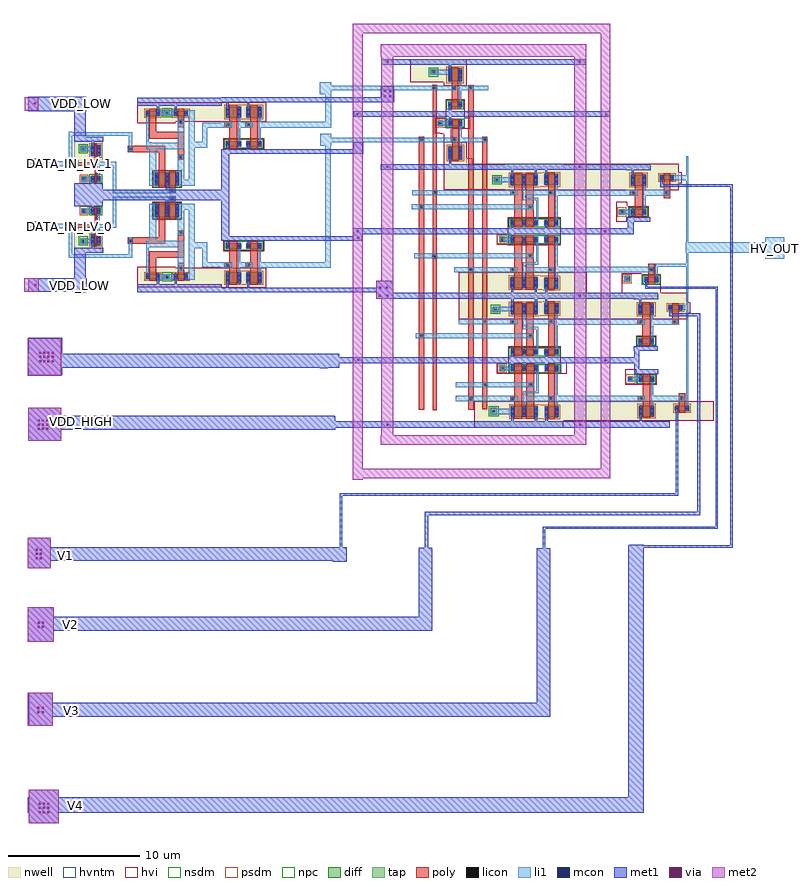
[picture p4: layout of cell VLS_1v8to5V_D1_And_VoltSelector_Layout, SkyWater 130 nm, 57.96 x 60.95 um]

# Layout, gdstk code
import gdstk
lib = gdstk.Library(unit=1e-6, precision=1e-09)
def R(c, l, rs):  # rectangles x0, y0, x1, y1
    for r in rs: c.add(gdstk.rectangle(r[:2], r[2:], *l))
def A(c, l, x, y, w, h, nx, ny, dx, dy):  # array of equal rectangles
    R(c, l, [(x+i*dx, y+j*dy, x+i*dx+w, y+j*dy+h) for i in range(nx) for j in range(ny)])
nwell = (64, 20)
diff = (65, 20)
tap = (65, 44)
poly = (66, 20)
licon = (66, 44)
li1 = (67, 20)
mcon = (67, 44)
met1 = (68, 20)
via = (68, 44)
met2 = (69, 20)
hvi = (75, 20)
nsdm = (93, 44)
psdm = (94, 20)
npc = (95, 20)
hvntm = (125, 20)

sky130_fd_pr__pfet_g5v0d = lib.new_cell('sky130_fd_pr__pfet_g5v0d10v5_54DD5S')
R(sky130_fd_pr__pfet_g5v0d, nwell, [(-0.77,-0.73,0.77,0.73)])
R(sky130_fd_pr__pfet_g5v0d, diff, [(-0.59,-0.42,0.59,0.42)])
R(sky130_fd_pr__pfet_g5v0d, poly, [(-0.3,-0.55,0.3,0.55)])
R(sky130_fd_pr__pfet_g5v0d, licon, [(-0.53,-0.255,-0.36,-0.085), (0.36,-0.255,0.53,-0.085), (-0.53,0.085,-0.36,0.255), (0.36,0.085,0.53,0.255)])
R(sky130_fd_pr__pfet_g5v0d, li1, [(-0.53,-0.44,-0.36,0.44), (0.36,-0.44,0.53,0.44)])
R(sky130_fd_pr__pfet_g5v0d, mcon, [(-0.53,-0.265,-0.36,-0.095), (0.36,-0.265,0.53,-0.095), (-0.53,0.095,-0.36,0.265), (0.36,0.095,0.53,0.265)])
R(sky130_fd_pr__pfet_g5v0d, met1, [(-0.56,-0.42,-0.33,0.42), (0.33,-0.42,0.56,0.42)])
R(sky130_fd_pr__pfet_g5v0d, hvi, [(-0.77,-0.73,0.77,-0.605), (-0.775,-0.605,0.775,0.605), (-0.77,0.605,0.77,0.73)])
R(sky130_fd_pr__pfet_g5v0d, psdm, [(-0.715,-0.545,0.715,0.545)])

sky130_fd_pr__nfet_g5v0d = lib.new_cell('sky130_fd_pr__nfet_g5v0d10v5_RU632G')
R(sky130_fd_pr__nfet_g5v0d, diff, [(-0.59,-0.21,0.59,0.21)])
R(sky130_fd_pr__nfet_g5v0d, poly, [(-0.3,-0.34,0.3,0.34)])
R(sky130_fd_pr__nfet_g5v0d, licon, [(-0.53,-0.085,-0.36,0.085), (0.36,-0.085,0.53,0.085)])
R(sky130_fd_pr__nfet_g5v0d, li1, [(-0.53,-0.23,-0.36,0.23), (0.36,-0.23,0.53,0.23)])
R(sky130_fd_pr__nfet_g5v0d, mcon, [(-0.53,-0.085,-0.36,0.085), (0.36,-0.085,0.53,0.085)])
R(sky130_fd_pr__nfet_g5v0d, met1, [(-0.56,-0.21,-0.33,0.21), (0.33,-0.21,0.56,0.21)])
R(sky130_fd_pr__nfet_g5v0d, hvi, [(-0.775,-0.42,0.775,0.42)])
R(sky130_fd_pr__nfet_g5v0d, nsdm, [(-0.715,-0.335,0.715,0.335)])
R(sky130_fd_pr__nfet_g5v0d, hvntm, [(-0.775,-0.395,0.775,0.395)])

inverter_d1_g5v10 = lib.new_cell('inverter_D1_g5v10')
R(inverter_d1_g5v10, nwell, [(-0.49,-3.04,1.36,-1.54)])
R(inverter_d1_g5v10, poly, [(0.14,-1.74,0.74,-1.54), (-0.24,-1.54,0.74,-1.1), (0.14,-1.1,0.74,-0.08)])
R(inverter_d1_g5v10, licon, [(-0.05,-1.395,0.12,-1.225)])
R(inverter_d1_g5v10, li1, [(0.8,-1.87,0.97,-1.54), (-0.49,-1.54,0.36,-1.1), (0.8,-1.54,1.36,-1.1), (0.8,-1.1,0.97,0.175)])
R(inverter_d1_g5v10, met1, [(-0.49,-3.4,1.35,-3.05), (-0.09,-3.05,0.08,-1.87), (-0.09,-0.07,0.08,0.54), (-0.5,0.54,1.34,0.89)])
R(inverter_d1_g5v10, hvi, [(-0.49,-3.04,1.36,-3.02), (-0.49,-3.02,-0.33,-2.895), (1.21,-3.02,1.36,-2.895), (-0.49,-2.895,-0.335,-1.685), (1.215,-2.895,1.36,-1.685), (-0.49,-1.685,-0.33,-1.56), (1.21,-1.685,1.36,-1.56), (-0.49,-1.56,1.36,-1.54)])
R(inverter_d1_g5v10, npc, [(-0.15,-1.495,0.22,-1.125)])
inverter_d1_g5v10.add(gdstk.Reference(sky130_fd_pr__pfet_g5v0d, (0.44,-2.29)))
inverter_d1_g5v10.add(gdstk.Reference(sky130_fd_pr__nfet_g5v0d, (0.44,0.14)))
inverter_d1_g5v10.add(gdstk.Label('VDD', (0.46,-3.25), layer=68, texttype=16))
inverter_d1_g5v10.add(gdstk.Label('GND', (0.46,0.69), layer=68, texttype=16))
inverter_d1_g5v10.add(gdstk.Label('IN', (-0.32,-1.33), layer=67, texttype=16))
inverter_d1_g5v10.add(gdstk.Label('OUT', (1.12,-1.35), layer=67, texttype=16))

c_sky130_fd_pr__pfet_g5v0d = lib.new_cell('sky130_fd_pr__pfet_g5v0d10v5_HDJJAB')
R(c_sky130_fd_pr__pfet_g5v0d, nwell, [(-0.72,-0.52,0.72,0.52)])
R(c_sky130_fd_pr__pfet_g5v0d, diff, [(-0.54,-0.21,0.54,0.21)])
R(c_sky130_fd_pr__pfet_g5v0d, poly, [(-0.25,-0.34,0.25,0.34)])
R(c_sky130_fd_pr__pfet_g5v0d, licon, [(-0.48,-0.085,-0.31,0.085), (0.31,-0.085,0.48,0.085)])
R(c_sky130_fd_pr__pfet_g5v0d, li1, [(-0.48,-0.23,-0.31,0.23), (0.31,-0.23,0.48,0.23)])
R(c_sky130_fd_pr__pfet_g5v0d, mcon, [(-0.48,-0.085,-0.31,0.085), (0.31,-0.085,0.48,0.085)])
R(c_sky130_fd_pr__pfet_g5v0d, met1, [(-0.51,-0.21,-0.28,0.21), (0.28,-0.21,0.51,0.21)])
R(c_sky130_fd_pr__pfet_g5v0d, hvi, [(-0.72,-0.52,0.72,-0.42), (-1.145,-0.42,1.145,0.42), (-0.72,0.42,0.72,0.52)])
R(c_sky130_fd_pr__pfet_g5v0d, psdm, [(-0.665,-0.335,0.665,0.335)])

c_sky130_fd_pr__pfet_g5v0d_ = lib.new_cell('sky130_fd_pr__pfet_g5v0d10v5_CG94UW')
R(c_sky130_fd_pr__pfet_g5v0d_, nwell, [(-0.72,-0.73,0.72,0.73)])
R(c_sky130_fd_pr__pfet_g5v0d_, diff, [(-0.54,-0.42,0.54,0.42)])
R(c_sky130_fd_pr__pfet_g5v0d_, poly, [(-0.25,-0.55,0.25,0.55)])
R(c_sky130_fd_pr__pfet_g5v0d_, licon, [(-0.48,-0.255,-0.31,-0.085), (0.31,-0.255,0.48,-0.085), (-0.48,0.085,-0.31,0.255), (0.31,0.085,0.48,0.255)])
R(c_sky130_fd_pr__pfet_g5v0d_, li1, [(-0.48,-0.44,-0.31,0.44), (0.31,-0.44,0.48,0.44)])
R(c_sky130_fd_pr__pfet_g5v0d_, mcon, [(-0.48,-0.265,-0.31,-0.095), (0.31,-0.265,0.48,-0.095), (-0.48,0.095,-0.31,0.265), (0.31,0.095,0.48,0.265)])
R(c_sky130_fd_pr__pfet_g5v0d_, met1, [(-0.51,-0.42,-0.28,0.42), (0.28,-0.42,0.51,0.42)])
R(c_sky130_fd_pr__pfet_g5v0d_, hvi, [(-0.72,-0.73,0.72,-0.605), (-0.725,-0.605,0.725,0.605), (-0.72,0.605,0.72,0.73)])
R(c_sky130_fd_pr__pfet_g5v0d_, psdm, [(-0.665,-0.545,0.665,0.545)])

c_sky130_fd_pr__pfet_g5v0d__ = lib.new_cell('sky130_fd_pr__pfet_g5v0d10v5_DG94C2')
R(c_sky130_fd_pr__pfet_g5v0d__, nwell, [(-0.77,-0.73,0.77,0.73)])
R(c_sky130_fd_pr__pfet_g5v0d__, diff, [(-0.59,-0.42,0.59,0.42)])
R(c_sky130_fd_pr__pfet_g5v0d__, poly, [(-0.3,-0.55,0.3,0.55)])
R(c_sky130_fd_pr__pfet_g5v0d__, licon, [(-0.53,-0.255,-0.36,-0.085), (0.36,-0.255,0.53,-0.085), (-0.53,0.085,-0.36,0.255), (0.36,0.085,0.53,0.255)])
R(c_sky130_fd_pr__pfet_g5v0d__, li1, [(-0.53,-0.44,-0.36,0.44), (0.36,-0.44,0.53,0.44)])
R(c_sky130_fd_pr__pfet_g5v0d__, mcon, [(-0.53,-0.265,-0.36,-0.095), (0.36,-0.265,0.53,-0.095), (-0.53,0.095,-0.36,0.265), (0.36,0.095,0.53,0.265)])
R(c_sky130_fd_pr__pfet_g5v0d__, met1, [(-0.56,-0.42,-0.33,0.42), (0.33,-0.42,0.56,0.42)])
R(c_sky130_fd_pr__pfet_g5v0d__, hvi, [(-0.77,-0.73,0.77,-0.605), (-0.775,-0.605,0.775,0.605), (-0.77,0.605,0.77,0.73)])
R(c_sky130_fd_pr__pfet_g5v0d__, psdm, [(-0.715,-0.545,0.715,0.545)])

nand_d1_g5d10 = lib.new_cell('nand_D1_g5d10')
R(nand_d1_g5d10, nwell, [(0.74,-1.5,2.58,-1.49), (-0.17,-1.49,2.58,0.04)])
R(nand_d1_g5d10, poly, [(0.47,-0.27,1.07,0.04), (1.36,-0.18,1.96,2.27), (0.16,0.04,1.07,0.45), (0.47,0.45,1.07,2.24)])
R(nand_d1_g5d10, licon, [(0.27,0.17,0.44,0.34), (1.605,1.23,1.775,1.4)])
R(nand_d1_g5d10, li1, [(1.13,-0.29,1.3,0.04), (-0.17,0.04,0.74,0.45), (1.13,0.04,2.58,0.45), (1.13,0.45,1.3,0.645), (1.13,0.645,2.305,0.815), (2.135,0.815,2.305,1.91), (-0.18,1.11,1.96,1.49), (2.135,1.91,2.31,2.775)])
R(nand_d1_g5d10, met1, [(-0.17,-1.96,2.58,-1.5), (0.24,-1.5,0.41,-0.37), (2.02,-1.5,2.2,-0.32), (0.24,2.32,0.41,2.95), (-0.17,2.95,2.57,3.41)])
R(nand_d1_g5d10, hvi, [(0.74,-1.5,2.58,-1.49), (-0.17,-1.49,2.58,-1.46), (-0.17,-1.46,0,-1.335), (2.43,-1.46,2.58,-1.335), (-0.17,-1.335,-0.005,-0.125), (2.435,-1.335,2.58,-0.125), (-0.17,-0.125,0,0), (2.43,-0.125,2.58,0), (-0.17,0,2.58,0.04)])
R(nand_d1_g5d10, npc, [(0.17,0.07,0.54,0.44), (1.505,1.13,1.875,1.5)])
nand_d1_g5d10.add(gdstk.Reference(c_sky130_fd_pr__pfet_g5v0d__, (1.66,-0.73)))
nand_d1_g5d10.add(gdstk.Reference(c_sky130_fd_pr__pfet_g5v0d__, (0.77,-0.73)))
nand_d1_g5d10.add(gdstk.Reference(sky130_fd_pr__nfet_g5v0d, (0.77,2.55)))
nand_d1_g5d10.add(gdstk.Reference(sky130_fd_pr__nfet_g5v0d, (1.66,2.55)))
nand_d1_g5d10.add(gdstk.Label('VDD', (1.23,-1.76), layer=68, texttype=16))
nand_d1_g5d10.add(gdstk.Label('VSS', (1.21,3.15), layer=68, texttype=16))
nand_d1_g5d10.add(gdstk.Label('IN0', (0.06,0.25), layer=67, texttype=16))
nand_d1_g5d10.add(gdstk.Label('IN1', (0.05,1.27), layer=67, texttype=16))
nand_d1_g5d10.add(gdstk.Label('OUT', (2.39,0.2), layer=67, texttype=16))

c_sky130_fd_pr__nfet_g5v0d = lib.new_cell('sky130_fd_pr__nfet_g5v0d10v5_A3ZYGX')
R(c_sky130_fd_pr__nfet_g5v0d, diff, [(-0.54,-0.21,0.54,0.21)])
R(c_sky130_fd_pr__nfet_g5v0d, poly, [(-0.25,-0.34,0.25,0.34)])
R(c_sky130_fd_pr__nfet_g5v0d, licon, [(-0.48,-0.085,-0.31,0.085), (0.31,-0.085,0.48,0.085)])
R(c_sky130_fd_pr__nfet_g5v0d, li1, [(-0.48,-0.23,-0.31,0.23), (0.31,-0.23,0.48,0.23)])
R(c_sky130_fd_pr__nfet_g5v0d, mcon, [(-0.48,-0.085,-0.31,0.085), (0.31,-0.085,0.48,0.085)])
R(c_sky130_fd_pr__nfet_g5v0d, met1, [(-0.51,-0.21,-0.28,0.21), (0.28,-0.21,0.51,0.21)])
R(c_sky130_fd_pr__nfet_g5v0d, hvi, [(-0.725,-0.42,0.725,0.42)])
R(c_sky130_fd_pr__nfet_g5v0d, nsdm, [(-0.665,-0.335,0.665,0.335)])
R(c_sky130_fd_pr__nfet_g5v0d, hvntm, [(-0.725,-0.395,0.725,0.395)])

and2_g5d10 = lib.new_cell('and2_g5D10')
R(and2_g5d10, nwell, [(0.01,-5.37,4.38,-4.88), (3,-4.88,3.17,-4.42), (4.2,-4.88,4.38,-3.58), (3.23,-3.63,3.73,-3.58), (2.76,-3.58,4.38,-3.37)])
R(and2_g5d10, poly, [(3.23,-3.63,3.73,-0.91)])
R(and2_g5d10, licon, [(3.34,-3.24,3.51,-3.07)])
R(and2_g5d10, li1, [(3.79,-4.16,3.96,-3.37), (2.35,-3.37,3.62,-2.96), (3.79,-3.37,4.38,-2.95), (3.79,-2.95,3.96,-0.805)])
R(and2_g5d10, met1, [(2.3,-5.375,4.38,-4.91), (3,-4.91,3.17,-4.42), (3,-0.83,3.17,-0.46), (2.22,-0.46,4.2,0)])
R(and2_g5d10, hvi, [(0.01,-5.37,4.38,-4.91), (0.01,-4.91,0.92,-4.9), (4.2,-4.91,4.38,-4.785), (4.205,-4.785,4.38,-3.575), (4.2,-3.575,4.38,-3.45), (2.76,-3.45,4.38,-3.37), (2.615,-1.28,2.755,-0.44)])
R(and2_g5d10, nsdm, [(2.555,-1.195,2.815,-0.525)])
R(and2_g5d10, psdm, [(2.555,-4.685,2.815,-3.635)])
R(and2_g5d10, npc, [(3.24,-3.34,3.61,-2.97)])
R(and2_g5d10, hvntm, [(2.615,-1.255,2.755,-0.465)])
and2_g5d10.add(gdstk.Reference(c_sky130_fd_pr__pfet_g5v0d_, (3.48,-4.18)))
and2_g5d10.add(gdstk.Reference(nand_d1_g5d10, (0.18,-3.41)))
and2_g5d10.add(gdstk.Reference(c_sky130_fd_pr__nfet_g5v0d, (3.48,-0.86)))
and2_g5d10.add(gdstk.Label('OUT', (4.17,-3.17), layer=67, texttype=16))
and2_g5d10.add(gdstk.Label('VDD', (1.95,-5.17), layer=64, texttype=16))

c_sky130_fd_pr__pfet_g5v0d___ = lib.new_cell('sky130_fd_pr__pfet_g5v0d10v5_GK82RQ')
R(c_sky130_fd_pr__pfet_g5v0d___, nwell, [(-0.72,-0.81,0.72,0.81)])
R(c_sky130_fd_pr__pfet_g5v0d___, diff, [(-0.54,-0.5,0.54,0.5)])
R(c_sky130_fd_pr__pfet_g5v0d___, poly, [(-0.25,-0.63,0.25,0.63)])
A(c_sky130_fd_pr__pfet_g5v0d___, licon, -0.48, -0.425, 0.17, 0.17, 1, 3, 0, 0.34)
A(c_sky130_fd_pr__pfet_g5v0d___, licon, 0.31, -0.425, 0.17, 0.17, 1, 3, 0, 0.34)
R(c_sky130_fd_pr__pfet_g5v0d___, li1, [(-0.48,-0.52,-0.31,0.52), (0.31,-0.52,0.48,0.52)])
R(c_sky130_fd_pr__pfet_g5v0d___, mcon, [(-0.48,-0.265,-0.31,-0.095), (0.31,-0.265,0.48,-0.095), (-0.48,0.095,-0.31,0.265), (0.31,0.095,0.48,0.265)])
R(c_sky130_fd_pr__pfet_g5v0d___, met1, [(-0.51,-0.5,-0.28,0.5), (0.28,-0.5,0.51,0.5)])
R(c_sky130_fd_pr__pfet_g5v0d___, hvi, [(-0.72,-0.81,0.72,-0.685), (-0.725,-0.685,0.725,0.685), (-0.72,0.685,0.72,0.81)])
R(c_sky130_fd_pr__pfet_g5v0d___, psdm, [(-0.665,-0.625,0.665,0.625)])

inverter_d5g10_w1um_l0p4 = lib.new_cell('inverter_d5g10_W1um_L0p420')
R(inverter_d5g10_w1um_l0p4, nwell, [(-0.25,-2.1,1.51,-0.08)])
R(inverter_d5g10_w1um_l0p4, poly, [(0.38,-0.29,0.88,1.57)])
R(inverter_d5g10_w1um_l0p4, licon, [(0.45,0.005,0.62,0.175)])
R(inverter_d5g10_w1um_l0p4, li1, [(0.94,-0.4,1.11,-0.08), (-0.25,-0.08,0.7,0.26), (0.94,-0.08,1.51,0.25), (0.94,0.25,1.11,1.62)])
R(inverter_d5g10_w1um_l0p4, met1, [(-0.25,-2.1,1.5,-1.75), (0.15,-1.75,0.32,-1.26), (0.15,1.5,0.32,1.85), (-0.25,1.85,1.5,2.2)])
R(inverter_d5g10_w1um_l0p4, hvi, [(-0.25,-2.1,1.51,-1.72), (-0.25,-1.72,-0.09,-1.595), (1.35,-1.72,1.51,-1.595), (-0.25,-1.595,-0.095,-0.225), (1.355,-1.595,1.51,-0.225), (-0.25,-0.225,-0.09,-0.1), (1.35,-0.225,1.51,-0.1), (-0.25,-0.1,1.51,-0.08)])
R(inverter_d5g10_w1um_l0p4, npc, [(0.35,-0.095,0.72,0.275)])
inverter_d5g10_w1um_l0p4.add(gdstk.Reference(c_sky130_fd_pr__pfet_g5v0d___, (0.63,-0.91)))
inverter_d5g10_w1um_l0p4.add(gdstk.Reference(c_sky130_fd_pr__nfet_g5v0d, (0.63,1.37)))
inverter_d5g10_w1um_l0p4.add(gdstk.Label('VDD', (0.62,-1.95), layer=68, texttype=16))
inverter_d5g10_w1um_l0p4.add(gdstk.Label('VSS', (0.68,2.01), layer=68, texttype=16))
inverter_d5g10_w1um_l0p4.add(gdstk.Label('IN', (0,0.09), layer=67, texttype=16))
inverter_d5g10_w1um_l0p4.add(gdstk.Label('OUT', (1.26,0.08), layer=67, texttype=16))

decoder_d1_g5d10 = lib.new_cell('decoder_D1_g5d10')
R(decoder_d1_g5d10, nwell, [(-2.53,-5.37,1.9,-3.37), (-3.705,2.905,3.445,6.46), (-4.845,12.75,0.265,13.5), (-4.86,13.5,0.265,14.72), (-4.845,14.72,0.265,14.74), (-3.11,14.74,-3.09,14.75), (-7.39,20.96,-3.1,22.72)])
R(decoder_d1_g5d10, tap, [(-1.3,-4.39,-0.8,-3.87), (-0.61,-1.07,-0.16,-0.62), (-1.14,3.42,-0.67,3.86), (-0.63,8.76,-0.18,9.21), (-1.04,13.31,-0.57,13.75), (-5.33,17.61,-4.88,18.06), (-5.88,21.52,-5.41,21.96)])
R(decoder_d1_g5d10, poly, [(-5.7,-4.045,-5.39,12.4), (-2.98,-4.02,-2.58,20.73), (-6.76,-4.015,-6.35,16.82), (-1.9,-3.975,-1.53,16.81), (-5.73,12.4,-5.39,12.71), (-5.7,12.71,-5.39,20.77)])
R(decoder_d1_g5d10, licon, [(-1.145,-4.215,-0.975,-4.045), (-2.865,-3.24,-2.695,-3.07), (-1.78,-2.185,-1.61,-2.015), (-0.465,-0.935,-0.295,-0.765), (-6.64,1.55,-6.47,1.72), (-1.81,2.62,-1.64,2.79), (-0.985,3.56,-0.815,3.73), (-2.9,6.59,-2.73,6.76), (-5.62,7.62,-5.45,7.79), (-0.485,8.895,-0.315,9.065), (-6.645,11.4,-6.475,11.57), (-5.635,12.47,-5.465,12.64), (-0.885,13.45,-0.715,13.62), (-6.64,16.495,-6.47,16.665), (-1.79,16.5,-1.62,16.67), (-5.185,17.745,-5.015,17.915), (-5.635,20.46,-5.465,20.63), (-2.885,20.465,-2.715,20.635), (-5.725,21.66,-5.555,21.83)])
R(decoder_d1_g5d10, li1, [(-1.27,-4.35,0.43,-3.92), (-1.27,-3.92,-0.84,-3.91), (-3.945,-3.37,0.42,-2.96), (3.76,-3.37,8.83,-2.95), (-3.93,-2.3,0.38,-1.92), (-0.57,-1.04,-0.19,-1), (-0.57,-1,0.47,-0.73), (-0.57,-0.73,-0.19,-0.67), (-6.98,1.455,0.26,1.835), (3.82,2.485,8.82,2.905), (-3.705,2.495,0.3,2.905), (-1.1,3.46,-0.72,3.49), (-1.1,3.49,0.4,3.82), (-1.08,3.82,0.4,3.83), (-4.065,6.46,0.285,6.87), (3.83,6.46,8.71,6.88), (-7.1,7.53,0.24,7.91), (-0.59,8.79,-0.21,8.82), (-0.59,8.82,0.42,9.14), (-0.59,9.14,-0.21,9.16), (-7.28,11.295,0.28,11.675), (3.69,12.325,8.72,12.745), (-7.265,12.335,0.29,12.745), (-1,13.35,0.35,13.71), (-12.99,16.4,-4.51,16.74), (-3.97,16.4,-3.85,16.74), (-3.65,16.4,-1.51,16.74), (-5.29,17.64,-4.91,17.68), (-5.29,17.68,-4.32,17.98), (-5.29,17.98,-4.91,18.01), (-12.95,20.36,-4.52,20.7), (-3.485,20.37,-1.445,20.7), (-5.84,21.55,-4.34,21.92)])
R(decoder_d1_g5d10, met1, [(-13.875,-5.38,6.025,-4.89), (-13.67,-0.465,7.8,0), (-9.65,4.445,5.98,4.905), (-11.78,9.375,7.86,9.835), (-9.645,14.28,6.025,14.73), (-11.72,18.33,7.86,18.77), (-9.62,22.31,6.015,22.71), (-9.605,22.71,6.015,22.72)])
R(decoder_d1_g5d10, via, [(-9.185,-5.22,-9.035,-5.07), (5.475,-5.22,5.625,-5.07), (7.405,-0.3,7.555,-0.15), (-11.445,-0.29,-11.295,-0.14), (-9.255,4.61,-9.105,4.76), (5.455,4.62,5.605,4.77), (7.385,9.51,7.535,9.66), (-11.485,9.52,-11.335,9.67), (5.455,14.43,5.605,14.58), (-9.255,14.44,-9.105,14.59), (7.455,18.43,7.605,18.58), (-11.505,18.46,-11.355,18.61), (-9.205,22.44,-9.055,22.59), (5.455,22.46,5.605,22.61)])
R(decoder_d1_g5d10, met2, [(-11.775,-9.335,-11.045,-9.25), (-11.775,-9.25,7.845,-8.52), (-11.775,-8.52,-11.045,24.685), (7.115,-8.52,7.845,24.685), (-9.65,-6.67,6.01,-5.94), (-9.63,-5.94,-8.69,22.91), (5.08,-5.94,6.01,-5.67), (5.08,-5.67,6.02,22.91), (-9.65,22.91,6.02,23.85), (-11.775,24.685,7.845,25.415)])
R(decoder_d1_g5d10, hvi, [(-2.53,-5.37,1.9,-3.37), (4.095,-1.28,4.51,-0.44), (-0.805,-1.265,0.065,-1.255), (-0.805,-1.255,0.065,-0.44), (-0.805,-0.44,4.085,-0.425), (0.055,-0.425,4.085,-0.025), (-3.705,2.905,3.445,6.46), (-0.825,8.565,0.045,9.39), (-0.825,9.39,4.075,9.405), (0.045,9.405,4.075,9.815), (-4.845,12.75,0.265,13.5), (-4.86,13.5,0.265,14.72), (-4.845,14.72,0.265,14.74), (-3.52,14.74,-2.68,15.165), (-4.865,16.265,-4.85,16.4), (-4.865,16.4,-4.265,17.02), (-5.12,17.02,-4.265,17.08), (-5.525,17.08,-4.265,17.295), (-5.53,17.295,-4.265,17.43), (-5.53,17.43,-4.685,18.245), (-3.245,17.43,-2.83,18.27), (-5.53,18.245,-4.685,18.255), (-4.705,18.255,-4.695,18.27), (-4.705,18.27,-3.255,18.83), (-7.39,20.96,-3.1,22.72)])
R(decoder_d1_g5d10, nsdm, [(-1.425,-4.515,-0.675,-3.745), (-1.265,3.295,-0.545,3.985), (-1.165,13.185,-0.445,13.875), (-6.005,21.395,-5.285,22.085)])
R(decoder_d1_g5d10, psdm, [(-0.735,-1.195,-0.035,-0.495), (-0.755,8.635,-0.055,9.335), (-5.455,17.485,-4.755,18.185)])
R(decoder_d1_g5d10, npc, [(-2.965,-3.34,-2.595,-2.97), (-1.88,-2.285,-1.51,-1.915), (-6.74,1.45,-6.37,1.82), (-1.91,2.52,-1.54,2.89), (-3,6.49,-2.63,6.86), (-5.72,7.52,-5.35,7.89), (-6.745,11.3,-6.375,11.67), (-5.735,12.37,-5.365,12.74), (-6.74,16.395,-6.37,16.765), (-1.89,16.4,-1.52,16.77), (-5.735,20.36,-5.365,20.73), (-2.985,20.365,-2.615,20.735)])
R(decoder_d1_g5d10, hvntm, [(0.065,-0.465,4.085,0), (0.045,9.365,4.075,9.84), (-4.695,18.245,-3.255,18.855)])
decoder_d1_g5d10.add(gdstk.Reference(and2_g5d10, (-0.13,9.375), x_reflection=True))
decoder_d1_g5d10.add(gdstk.Reference(and2_g5d10, (-0.13,9.83)))
decoder_d1_g5d10.add(gdstk.Reference(and2_g5d10, (-0.12,-0.465), x_reflection=True))
decoder_d1_g5d10.add(gdstk.Reference(and2_g5d10, (-0.11,0)))
decoder_d1_g5d10.add(gdstk.Reference(inverter_d5g10_w1um_l0p4, (-4.61,20.62), x_reflection=True))
decoder_d1_g5d10.add(gdstk.Reference(inverter_d5g10_w1um_l0p4, (-4.6,16.48)))
decoder_d1_g5d10.add(gdstk.Label('VDD', (-13.63,-5.12), layer=68, texttype=16))
decoder_d1_g5d10.add(gdstk.Label('VSS', (-13.31,-0.22), layer=68, texttype=16))
decoder_d1_g5d10.add(gdstk.Label('IN0', (-12.7,16.62), layer=67, texttype=16))
decoder_d1_g5d10.add(gdstk.Label('IN1', (-12.59,20.54), layer=67, texttype=16))
decoder_d1_g5d10.add(gdstk.Label('OUT0', (8.53,-3.16), layer=67, texttype=16))
decoder_d1_g5d10.add(gdstk.Label('OUT1', (8.32,2.72), layer=67, texttype=16))
decoder_d1_g5d10.add(gdstk.Label('OUT2', (8.24,6.65), layer=67, texttype=16))
decoder_d1_g5d10.add(gdstk.Label('OUT3', (8.31,12.55), layer=67, texttype=16))

decoder_with_pmos_d1_g5d = lib.new_cell('decoder_with_pmos_D1_g5d10_tapped_2305')
R(decoder_with_pmos_d1_g5d, nwell, [(16.66,-30.32,29.5,-28.82), (14.47,-22.55,27.5,-20.55), (14.47,-20.55,19.82,-18.995), (16.025,-12.71,26.85,-10.71)])
R(decoder_with_pmos_d1_g5d, tap, [(22.94,-27.35,23.39,-26.9), (22.7,-19.7,23.15,-19.25), (22.28,-14.61,22.73,-14.16)])
R(decoder_with_pmos_d1_g5d, poly, [(26.84,-29.12,27.34,-28.22), (26.34,-23,26.84,-21.96), (24.51,-19.23,25.01,-18.32), (25.69,-13.34,26.19,-12.05)])
R(decoder_with_pmos_d1_g5d, licon, [(26.95,-28.66,27.12,-28.49), (23.085,-27.215,23.255,-27.045), (26.46,-22.835,26.63,-22.665), (22.845,-19.565,23.015,-19.395), (24.675,-18.875,24.845,-18.705), (22.425,-14.475,22.595,-14.305), (25.815,-12.99,25.985,-12.82)])
R(decoder_with_pmos_d1_g5d, li1, [(27.4,-29.58,27.58,-21.84), (22.185,-28.825,23.73,-28.405), (24.86,-28.82,27.23,-28.38), (22.98,-27.32,23.36,-27.29), (22.98,-27.29,24,-26.98), (22.98,-26.98,23.36,-26.95), (24.84,-22.99,26.79,-22.55), (22.03,-22.97,23.76,-22.55), (26.91,-21.84,27.58,-21.51), (27.4,-21.51,27.58,-18.575), (25.07,-19.77,25.24,-18.575), (22.74,-19.67,23.12,-19.3), (21.94,-18.995,24.9,-18.575), (25.07,-18.575,27.58,-18.35), (27.4,-18.35,27.58,-17.5), (33.46,-17.96,34.87,-17.5), (27.38,-17.5,34.87,-16.69), (27.4,-16.69,27.58,-11.95), (33.46,-16.69,34.87,-16.3), (22.32,-14.58,22.7,-14.56), (22.32,-14.56,23.36,-14.21), (24.26,-13.14,26.15,-12.7), (21.94,-13.13,23.12,-12.71), (26.25,-11.95,27.58,-11.58), (27.4,-11.58,27.58,-10.12), (-0.51,-9.32,0.36,-9.055), (-0.51,-9.055,1.56,-8.715), (-0.51,-8.715,0.36,-8.42), (-0.52,-5.4,0.35,-5.095), (-0.52,-5.095,1.49,-4.755), (-0.52,-4.755,0.35,-4.5)])
R(decoder_with_pmos_d1_g5d, met1, [(16.01,-41.08,17.05,-40.01), (23.02,-41.07,24.17,-41.06), (7,-41.06,8.04,-39.99), (23.01,-41.06,24.17,-39.99), (0.47,-41.02,1.51,-39.95), (16.485,-40.01,16.655,-38.555), (7.49,-39.99,7.73,-37.5), (23.02,-39.99,24.17,-39.985), (23.02,-39.985,30.975,-39.795), (1.005,-39.95,1.195,-36.035), (23.02,-39.795,24.17,-39.77), (30.785,-39.795,30.975,-12.465), (16.485,-38.555,29.825,-38.385), (29.655,-38.385,29.825,-20.25), (7.49,-37.5,28.48,-37.26), (28.24,-37.26,28.48,-22.35), (1.005,-36.035,26.8,-35.845), (26.61,-35.845,26.8,-29.15), (-0.5,-31,0.62,-29.94), (18.225,-30.835,26.175,-30.345), (23.44,-26.73,23.83,-25.92), (-0.53,-26.29,0.06,-26.27), (-0.53,-26.27,0.97,-25.21), (20.225,-25.92,23.83,-25.455), (23.44,-25.455,23.83,-24.63), (-0.53,-25.21,0.06,-25.18), (26.11,-22.35,28.48,-22.11), (26.11,-22.11,26.28,-21.44), (18.13,-21.01,25.26,-20.55), (24.28,-20.25,29.825,-20.08), (24.28,-20.08,24.45,-19.33), (19.99,-16.08,23.4,-15.62), (22.94,-15.62,23.4,-14.84), (25.43,-12.515,25.62,-12.465), (25.43,-12.465,30.975,-12.275), (25.43,-12.275,25.62,-11.55), (18.025,-11.175,24.675,-10.725)])
R(decoder_with_pmos_d1_g5d, hvi, [(18.045,-30.32,23.45,-28.825), (25.3,-30.32,29.5,-29.88), (25.3,-29.88,26.37,-29.78), (27.81,-29.88,29.5,-29.78), (25.3,-29.78,25.945,-28.94), (28.235,-29.78,29.5,-28.94), (25.3,-28.94,26.37,-28.84), (27.81,-28.94,29.5,-28.84), (25.3,-28.84,29.5,-28.82), (16.66,-28.825,23.45,-28.82), (23.575,-27.56,23.605,-27.545), (22.745,-27.545,23.605,-26.72), (22.745,-26.72,23.585,-26.37), (18.035,-22.55,23.43,-21.05), (25.28,-22.55,27.5,-22.19), (25.28,-22.19,25.87,-22.09), (27.31,-22.19,27.5,-22.09), (25.28,-22.09,25.445,-21.25), (25.28,-21.25,25.87,-21.15), (27.31,-21.25,27.5,-21.15), (25.28,-21.15,27.5,-21.05), (18.035,-21.05,27.5,-20.55), (18.025,-20.55,19.82,-18.995), (22.505,-20.55,25.485,-19.97), (22.505,-19.97,24.035,-19.155), (22.505,-19.155,24.035,-19.055), (22.085,-15.14,22.925,-14.8), (22.085,-14.8,23.005,-13.96), (22.085,-13.96,22.925,-13.62), (18.025,-12.71,26.85,-12.7), (18.025,-12.7,22.85,-11.2), (24.7,-12.7,26.85,-12.28), (24.7,-12.28,25.22,-12.18), (26.66,-12.28,26.85,-12.18), (24.7,-12.18,24.795,-11.34), (24.7,-11.34,25.22,-11.24), (26.66,-11.34,26.85,-11.24), (24.7,-11.24,26.85,-11.2), (18.025,-11.2,26.85,-10.71)])
R(decoder_with_pmos_d1_g5d, psdm, [(22.815,-27.475,23.515,-26.775), (22.575,-19.825,23.275,-19.125), (22.155,-14.735,22.855,-14.035)])
R(decoder_with_pmos_d1_g5d, npc, [(26.85,-28.76,27.22,-28.39), (26.36,-22.935,26.73,-22.565), (24.575,-18.975,24.945,-18.605), (25.715,-13.09,26.085,-12.72)])
decoder_with_pmos_d1_g5d.add(gdstk.Reference(inverter_d1_g5v10, (23.92,-24.09), x_reflection=True))
decoder_with_pmos_d1_g5d.add(gdstk.Reference(inverter_d1_g5v10, (23.94,-27.28)))
decoder_with_pmos_d1_g5d.add(gdstk.Reference(inverter_d1_g5v10, (23.34,-14.24), x_reflection=True))
decoder_with_pmos_d1_g5d.add(gdstk.Reference(c_sky130_fd_pr__pfet_g5v0d, (25.94,-11.76)))
decoder_with_pmos_d1_g5d.add(gdstk.Reference(c_sky130_fd_pr__pfet_g5v0d, (27.09,-29.36)))
decoder_with_pmos_d1_g5d.add(gdstk.Reference(c_sky130_fd_pr__pfet_g5v0d, (26.59,-21.67)))
decoder_with_pmos_d1_g5d.add(gdstk.Reference(decoder_d1_g5d10, (13.775,-25.455)))
decoder_with_pmos_d1_g5d.add(gdstk.Reference(c_sky130_fd_pr__nfet_g5v0d, (24.76,-19.55)))
decoder_with_pmos_d1_g5d.add(gdstk.Label('V1', (0.99,-40.49), layer=68, texttype=16))
decoder_with_pmos_d1_g5d.add(gdstk.Label('V2', (7.5,-40.47), layer=68, texttype=16))
decoder_with_pmos_d1_g5d.add(gdstk.Label('V3', (16.47,-40.51), layer=68, texttype=16))
decoder_with_pmos_d1_g5d.add(gdstk.Label('V4', (23.54,-40.5), layer=68, texttype=16))
decoder_with_pmos_d1_g5d.add(gdstk.Label('VDD', (0.24,-30.58), layer=68, texttype=16))
decoder_with_pmos_d1_g5d.add(gdstk.Label('VSS', (0.49,-25.71), layer=68, texttype=16))
decoder_with_pmos_d1_g5d.add(gdstk.Label('OUT', (33.94,-17.1), layer=67, texttype=16))
decoder_with_pmos_d1_g5d.add(gdstk.Label('IN0', (-0.18,-8.83), layer=67, texttype=16))
decoder_with_pmos_d1_g5d.add(gdstk.Label('IN1', (-0.27,-4.95), layer=67, texttype=16))

sky130_fd_pr__nfet_01v8_ = lib.new_cell('sky130_fd_pr__nfet_01v8_FNPZCM')
R(sky130_fd_pr__nfet_01v8_, diff, [(-0.365,-0.21,0.365,0.21)])
R(sky130_fd_pr__nfet_01v8_, poly, [(-0.075,-0.34,0.075,0.34)])
R(sky130_fd_pr__nfet_01v8_, licon, [(-0.305,-0.085,-0.135,0.085), (0.135,-0.085,0.305,0.085)])
R(sky130_fd_pr__nfet_01v8_, li1, [(-0.305,-0.23,-0.135,0.23), (0.135,-0.23,0.305,0.23)])
R(sky130_fd_pr__nfet_01v8_, mcon, [(-0.305,-0.085,-0.135,0.085), (0.135,-0.085,0.305,0.085)])
R(sky130_fd_pr__nfet_01v8_, met1, [(-0.335,-0.21,-0.105,0.21), (0.105,-0.21,0.335,0.21)])
R(sky130_fd_pr__nfet_01v8_, nsdm, [(-0.49,-0.335,0.49,0.335)])

sky130_fd_pr__pfet_01v8_ = lib.new_cell('sky130_fd_pr__pfet_01v8_6PK3KM')
R(sky130_fd_pr__pfet_01v8_, nwell, [(-0.545,-0.73,0.545,0.73)])
R(sky130_fd_pr__pfet_01v8_, diff, [(-0.365,-0.42,0.365,0.42)])
R(sky130_fd_pr__pfet_01v8_, poly, [(-0.075,-0.55,0.075,0.55)])
R(sky130_fd_pr__pfet_01v8_, licon, [(-0.305,-0.255,-0.135,-0.085), (0.135,-0.255,0.305,-0.085), (-0.305,0.085,-0.135,0.255), (0.135,0.085,0.305,0.255)])
R(sky130_fd_pr__pfet_01v8_, li1, [(-0.305,-0.44,-0.135,0.44), (0.135,-0.44,0.305,0.44)])
R(sky130_fd_pr__pfet_01v8_, mcon, [(-0.305,-0.265,-0.135,-0.095), (0.135,-0.265,0.305,-0.095), (-0.305,0.095,-0.135,0.265), (0.135,0.095,0.305,0.265)])
R(sky130_fd_pr__pfet_01v8_, met1, [(-0.335,-0.42,-0.105,0.42), (0.105,-0.42,0.335,0.42)])
R(sky130_fd_pr__pfet_01v8_, psdm, [(-0.49,-0.545,0.49,0.545)])

inv_d1_1v8 = lib.new_cell('inv_D1_1v8')
R(inv_d1_1v8, nwell, [(-1.1,-1.46,1.09,0)])
R(inv_d1_1v8, tap, [(-0.62,-1.07,-0.18,-0.63), (-0.56,1.24,-0.14,1.65)])
R(inv_d1_1v8, poly, [(0.47,-0.19,0.62,0.16), (-1.1,0.1,-0.75,0.16), (-1.1,0.16,0.62,0.42), (-1.1,0.42,-0.75,0.45), (0.47,0.42,0.62,1.115)])
R(inv_d1_1v8, licon, [(-0.485,-0.935,-0.315,-0.765), (-1.02,0.165,-0.85,0.335), (-0.435,1.35,-0.265,1.52)])
R(inv_d1_1v8, li1, [(-0.58,-1.03,0.35,-0.67), (-0.58,-0.67,-0.22,-0.66), (0.68,-0.43,0.85,0.15), (-1.1,0.1,-0.75,0.45), (0.68,0.15,1.1,0.42), (0.68,0.42,0.85,1.445), (-0.52,1.28,-0.18,1.31), (-0.52,1.31,0.37,1.58), (-0.52,1.58,-0.18,1.61)])
R(inv_d1_1v8, met1, [(-1.105,-1.76,1.1,-1.39), (0.24,-1.39,0.42,-0.83), (0.24,1.2,0.41,1.78), (-1.095,1.78,1.09,2.15)])
R(inv_d1_1v8, nsdm, [(-0.745,-1.195,-0.055,-0.505)])
R(inv_d1_1v8, psdm, [(-0.685,1.115,-0.015,1.775)])
R(inv_d1_1v8, npc, [(-1.12,0.065,-0.75,0.435)])
inv_d1_1v8.add(gdstk.Reference(sky130_fd_pr__nfet_01v8_, (0.545,1.43)))
inv_d1_1v8.add(gdstk.Reference(sky130_fd_pr__pfet_01v8_, (0.545,-0.73)))
inv_d1_1v8.add(gdstk.Label('VDD', (0.23,-1.61), layer=68, texttype=16))
inv_d1_1v8.add(gdstk.Label('VSS', (0.21,1.99), layer=68, texttype=16))
inv_d1_1v8.add(gdstk.Label('OUT', (0.94,0.29), layer=67, texttype=16))
inv_d1_1v8.add(gdstk.Label('IN', (-0.95,0.25), layer=67, texttype=16))

c_sky130_fd_pr__nfet_g5v0d_ = lib.new_cell('sky130_fd_pr__nfet_g5v0d10v5_PDTLGW')
R(c_sky130_fd_pr__nfet_g5v0d_, diff, [(-0.54,-0.5,0.54,0.5)])
R(c_sky130_fd_pr__nfet_g5v0d_, poly, [(-0.25,-0.63,0.25,0.63)])
A(c_sky130_fd_pr__nfet_g5v0d_, licon, -0.48, -0.425, 0.17, 0.17, 1, 3, 0, 0.34)
A(c_sky130_fd_pr__nfet_g5v0d_, licon, 0.31, -0.425, 0.17, 0.17, 1, 3, 0, 0.34)
R(c_sky130_fd_pr__nfet_g5v0d_, li1, [(-0.48,-0.52,-0.31,0.52), (0.31,-0.52,0.48,0.52)])
R(c_sky130_fd_pr__nfet_g5v0d_, mcon, [(-0.48,-0.265,-0.31,-0.095), (0.31,-0.265,0.48,-0.095), (-0.48,0.095,-0.31,0.265), (0.31,0.095,0.48,0.265)])
R(c_sky130_fd_pr__nfet_g5v0d_, met1, [(-0.51,-0.5,-0.28,0.5), (0.28,-0.5,0.51,0.5)])
R(c_sky130_fd_pr__nfet_g5v0d_, hvi, [(-0.725,-0.685,0.725,0.685)])
R(c_sky130_fd_pr__nfet_g5v0d_, nsdm, [(-0.665,-0.625,0.665,0.625)])
R(c_sky130_fd_pr__nfet_g5v0d_, hvntm, [(-0.725,-0.685,0.725,0.685)])

vls_g5d10_lv1v8_hv5v = lib.new_cell('VLS_g5D10_LV1v8_HV5V')
R(vls_g5d10_lv1v8_hv5v, nwell, [(-0.46,-1.36,6.075,0.13), (-0.46,0.13,2.44,0.23)])
R(vls_g5d10_lv1v8_hv5v, tap, [(1.56,-0.78,2.03,-0.34)])
R(vls_g5d10_lv1v8_hv5v, poly, [(2.61,-0.23,3.11,0.54), (0.47,-0.22,0.97,0.9), (0.47,0.9,3.11,1.4), (2.61,1.4,3.11,3.01), (-1.18,1.96,1.67,2.46), (1.17,2.46,1.67,3.88), (1.96,5.04,2.46,5.58)])
R(vls_g5d10_lv1v8_hv5v, licon, [(1.715,-0.64,1.885,-0.47), (2.765,0.015,2.935,0.185), (-1.06,2.105,-0.89,2.275), (2.765,2.725,2.935,2.895), (2.13,5.275,2.3,5.445)])
R(vls_g5d10_lv1v8_hv5v, li1, [(1.03,-0.77,2.55,-0.37), (3.17,-0.76,3.93,-0.3), (0.24,-0.75,0.41,1.7), (3.27,-0.3,3.93,-0.29), (3.47,-0.29,3.93,1.64), (2.61,-0.09,3.11,1.71), (8.96,0.13,9.36,0.57), (4.495,0.18,6.33,0.57), (4.495,0.57,4.885,1.64), (-5.7,0.9,-5.43,0.915), (-5.7,0.915,-0.855,1.185), (-5.7,1.185,-5.43,3.14), (-1.125,1.185,-0.855,2.465), (3.47,1.64,4.885,2.1), (0.24,1.7,0.66,1.71), (0.24,1.71,3.11,2.205), (3.47,2.1,3.93,4.56), (4.495,2.1,4.885,2.105), (0.47,2.205,3.11,2.21), (0.47,2.21,0.97,5.01), (2.61,2.59,3.11,4.56), (-5.8,3.14,-4.92,3.5), (-2.345,3.185,-2.075,3.19), (-3.455,3.19,-2.075,3.46), (-2.345,3.46,-2.075,5.305), (2.61,4.56,3.93,5.01), (2.76,5.01,3.93,5.02), (1.96,5.19,2.46,5.305), (-2.345,5.305,2.46,5.57), (-2.345,5.57,2.355,5.575)])
R(vls_g5d10_lv1v8_hv5v, met1, [(-5.26,-1.72,-4.38,1.64), (-0.46,-1.72,5.97,-1.1), (1.03,-1.1,1.21,-0.3), (2.38,-1.1,2.56,-0.3), (5.94,2.31,6.56,5.29), (1.72,4.69,1.91,5.29), (-3.12,4.82,-3.08,5.09), (-5.27,5.09,-3.08,5.29), (-5.27,5.29,6.56,5.9), (-5.25,5.9,6.56,5.91)])
R(vls_g5d10_lv1v8_hv5v, hvi, [(-0.46,-1.36,6.075,0.13), (-0.46,0.13,2.44,0.23), (7.645,1.39,7.665,2.23)])
R(vls_g5d10_lv1v8_hv5v, nsdm, [(1.435,-0.905,2.155,-0.215), (7.585,1.475,7.725,2.145)])
R(vls_g5d10_lv1v8_hv5v, psdm, [(7.585,-1.165,7.725,-0.075)])
R(vls_g5d10_lv1v8_hv5v, npc, [(2.665,-0.085,3.035,0.285), (-1.16,2.005,-0.79,2.375), (2.665,2.625,3.035,2.995), (2.03,5.175,2.4,5.545)])
R(vls_g5d10_lv1v8_hv5v, hvntm, [(7.645,1.415,7.665,2.205)])
vls_g5d10_lv1v8_hv5v.add(gdstk.Reference(inverter_d1_g5v10, (6.43,1.67)))
vls_g5d10_lv1v8_hv5v.add(gdstk.Reference(inverter_d1_g5v10, (8,1.67)))
vls_g5d10_lv1v8_hv5v.add(gdstk.Reference(c_sky130_fd_pr__pfet_g5v0d, (2.86,-0.52)))
vls_g5d10_lv1v8_hv5v.add(gdstk.Reference(c_sky130_fd_pr__pfet_g5v0d, (0.72,-0.52)))
vls_g5d10_lv1v8_hv5v.add(gdstk.Reference(inv_d1_1v8, (-4.175,3.04)))
vls_g5d10_lv1v8_hv5v.add(gdstk.Reference(c_sky130_fd_pr__nfet_g5v0d_, (1.42,4.49)))
vls_g5d10_lv1v8_hv5v.add(gdstk.Reference(c_sky130_fd_pr__nfet_g5v0d_, (2.21,4.49)))
vls_g5d10_lv1v8_hv5v.add(gdstk.Label('VDD_HIGH_5V', (1.42,-1.54), layer=68, texttype=16))
vls_g5d10_lv1v8_hv5v.add(gdstk.Label('VDD_LOW_1v8', (-4.86,-1.37), layer=68, texttype=16))
vls_g5d10_lv1v8_hv5v.add(gdstk.Label('VSS', (-4.02,5.53), layer=68, texttype=16))
vls_g5d10_lv1v8_hv5v.add(gdstk.Label('DATA_IN_LV_1v8', (-5.66,3.34), layer=67, texttype=16))
vls_g5d10_lv1v8_hv5v.add(gdstk.Label('DATA_OUT_HV_5V', (9.14,0.33), layer=67, texttype=16))

vls_1v8to5v_d1_and_volts = lib.new_cell('VLS_1v8to5V_D1_And_VoltSelector_Layout')
R(vls_1v8to5v_d1_and_volts, li1, [(13.22,-15.28,18.61,-14.84), (18.17,-14.84,18.61,-5.38), (51.74,-14.57,53.15,-12.95), (-4.47,-12.5,-3.86,-12.27), (-4.48,-12.27,-1.1,-11.91), (-4.47,-11.91,-3.86,-11.71), (-4.48,-7.7,-3.89,-7.51), (-4.48,-7.51,-1.09,-7.15), (-4.48,-7.15,-3.89,-6.92), (13.2,-4.58,18.62,-4.14), (18.18,-4.14,18.62,-1.72), (18.07,-1.53,18.51,-1.25)])
R(vls_1v8to5v_d1_and_volts, mcon, [(-4.255,-12.23,-4.085,-12.06), (-4.29,-7.39,-4.12,-7.22)])
R(vls_1v8to5v_d1_and_volts, met1, [(-4.45,-57.62,-2.14,-56.815), (-4.505,-56.815,42.46,-55.645), (-4.45,-55.645,-2.14,-55.06), (41.29,-55.645,42.46,-36.495), (-4.44,-50.21,-2.59,-49.5), (-4.44,-49.5,35.34,-48.46), (-4.44,-48.46,-2.59,-47.67), (34.3,-48.46,35.34,-37.7), (-4.52,-43.8,-2.55,-42.94), (-4.52,-42.94,26.33,-41.9), (-4.52,-41.9,-2.55,-41.17), (25.29,-41.9,26.33,-36.61), (-4.51,-38.19,-2.77,-37.63), (34.29,-37.7,35.34,-36.66), (18.75,-37.67,19.8,-37.63), (-4.51,-37.63,19.8,-36.58), (34.3,-36.66,35.34,-36.64), (-4.51,-36.58,-2.77,-35.84), (41.29,-36.495,42.44,-36.47), (-4.47,-28.46,-1.97,-27.63), (-4.47,-27.63,18.91,-27.62), (-4.47,-27.62,18.92,-26.58), (-4.47,-26.58,18.91,-26.57), (-4.47,-26.57,-1.97,-25.96), (-4.47,-23.46,-1.89,-22.9), (-4.5,-22.9,18.85,-21.84), (-4.47,-21.84,-1.89,-20.61), (22.08,-17.65,23.37,-17.14), (13.145,-17.14,23.37,-16.79), (-0.96,-17.12,-0.07,-17.11), (-4.49,-17.11,-0.03,-16.07), (22.08,-16.79,23.37,-16.27), (22.43,-16.27,23.37,-16.26), (20.3,-13.21,21.01,-13.2), (12.805,-13.2,21.015,-12.85), (20.3,-12.85,21.01,-12.24), (-4.48,-12.5,-3.87,-11.72), (-4.48,-7.7,-3.89,-6.91), (13.285,-6.57,21.07,-6.22), (20.3,-6.22,21.07,-5.68), (-4.49,-3.33,-0.07,-2.22), (3.88,-2.91,4.49,-2.29), (22.42,-2.64,23.42,-2.63), (13.215,-2.63,23.42,-2.28), (22.41,-2.28,23.42,-1.7), (22.41,-1.7,23.4,-1.41)])
A(vls_1v8to5v_d1_and_volts, via, -3.68, -56.85, 0.15, 0.15, 3, 3, 0.32, 0.32)
A(vls_1v8to5v_d1_and_volts, via, -3.905, -37.49, 0.15, 0.15, 1, 3, 0, 0.32)
A(vls_1v8to5v_d1_and_volts, via, -3.585, -37.49, 0.15, 0.15, 1, 3, 0, 0.32)
A(vls_1v8to5v_d1_and_volts, via, -3.75, -27.63, 0.15, 0.15, 3, 3, 0.32, 0.32)
A(vls_1v8to5v_d1_and_volts, via, -3.65, -22.465, 0.15, 0.15, 4, 3, 0.32, 0.32)
R(vls_1v8to5v_d1_and_volts, via, [(-3.775,-49.235,-3.625,-49.085), (-3.455,-49.235,-3.305,-49.085), (-3.775,-48.915,-3.625,-48.765), (-3.455,-48.915,-3.305,-48.765), (-3.755,-42.73,-3.605,-42.58), (-3.435,-42.73,-3.285,-42.58), (-3.755,-42.41,-3.605,-42.26), (-3.435,-42.41,-3.285,-42.26), (22.265,-17.495,22.415,-17.345), (22.305,-16.88,22.455,-16.73), (22.805,-16.88,22.955,-16.73), (-4.01,-16.66,-3.86,-16.51), (20.6,-13.045,20.75,-12.895), (-4.255,-12.23,-4.105,-12.08), (-4.275,-7.385,-4.125,-7.235), (-4.04,-2.815,-3.89,-2.665), (22.63,-2.27,22.78,-2.12), (23.07,-2.27,23.22,-2.12), (23.06,-1.87,23.21,-1.72), (22.63,-1.86,22.78,-1.71)])
R(vls_1v8to5v_d1_and_volts, met2, [(-4.45,-57.62,-2.14,-55.06), (-4.44,-50.21,-2.59,-50.2), (-4.5,-50.2,-2.59,-47.67), (-4.52,-43.8,-2.55,-41.17), (-4.51,-38.19,-2.77,-35.84), (-4.47,-28.46,-1.97,-25.96), (-4.53,-23.5,-1.95,-20.65), (22.08,-17.63,23.35,-16.26), (-4.8,-17.09,-3.68,-16.05), (20.54,-13.11,20.81,-12.83), (-4.48,-12.5,-3.87,-11.72), (-4.48,-7.7,-3.89,-6.91), (20.75,-6.45,20.97,-6.18), (20.35,-6.44,20.57,-6.17), (20.36,-6.02,20.58,-5.75), (20.74,-6,20.96,-5.73), (-4.76,-3.31,-3.73,-2.25), (22.56,-2.34,22.85,-2.05), (23,-2.34,23.29,-2.05), (22.99,-1.94,23.28,-1.65), (22.56,-1.93,22.85,-1.64)])
vls_1v8to5v_d1_and_volts.add(gdstk.Reference(decoder_with_pmos_d1_g5d, (18.29,3.37)))
vls_1v8to5v_d1_and_volts.add(gdstk.Reference(vls_g5d10_lv1v8_hv5v, (4.3,-4.01), x_reflection=True))
vls_1v8to5v_d1_and_volts.add(gdstk.Reference(vls_g5d10_lv1v8_hv5v, (4.3,-15.41)))
vls_1v8to5v_d1_and_volts.add(gdstk.Label('VDD_LOW', (-0.53,-16.61), layer=68, texttype=16))
vls_1v8to5v_d1_and_volts.add(gdstk.Label('VDD_LOW', (-0.45,-2.75), layer=68, texttype=16))
vls_1v8to5v_d1_and_volts.add(gdstk.Label('VDD_HIGH', (-0.4,-27), layer=68, texttype=16))
vls_1v8to5v_d1_and_volts.add(gdstk.Label('V1', (-1.6,-37.18), layer=68, texttype=16))
vls_1v8to5v_d1_and_volts.add(gdstk.Label('V2', (-1.28,-42.5), layer=68, texttype=16))
vls_1v8to5v_d1_and_volts.add(gdstk.Label('V3', (-1.14,-49.07), layer=68, texttype=16))
vls_1v8to5v_d1_and_volts.add(gdstk.Label('V4', (-0.86,-56.29), layer=68, texttype=16))
vls_1v8to5v_d1_and_volts.add(gdstk.Label('DATA_IN_LV_0', (-1.33,-12.09), layer=67, texttype=16))
vls_1v8to5v_d1_and_volts.add(gdstk.Label('DATA_IN_LV_1', (-1.33,-7.33), layer=67, texttype=16))
vls_1v8to5v_d1_and_volts.add(gdstk.Label('HV_OUT', (52.47,-13.81), layer=67, texttype=16))

lib.write_gds('VLS_1v8to5V_D1_And_VoltSelector_Layout.gds')
